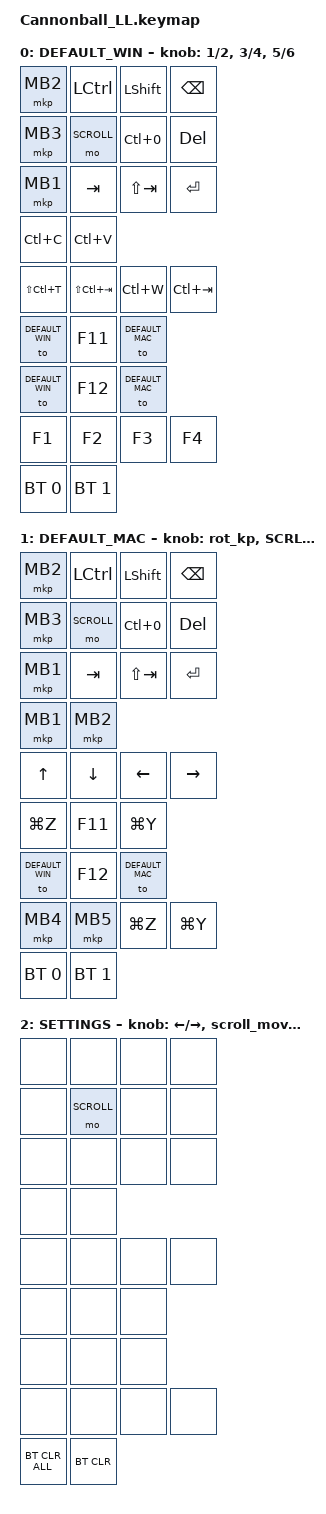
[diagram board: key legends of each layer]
#include <behaviors.dtsi>
#include <dt-bindings/zmk/bt.h>
#include <dt-bindings/zmk/keys.h>
#include <dt-bindings/zmk/pointing.h>
#include <dt-bindings/zmk/input_transform.h>

#define DEFAULT_WIN 0
#define DEFAULT_MAC 1
#define SCROLL 2

/ {
    /* Behaviors */
    // スクロール設定
    msc {
        acceleration-exponent = <0>;      // 0
        time-to-max-speed-ms = <200>;     // 300
        delay-ms = <5>;                   // 10
    };
    behaviors {
        // エンコーダー：キー
        rot_kp: sensor_rotate_kp {
            compatible = "zmk,behavior-sensor-rotate-var";
            #sensor-binding-cells = <2>;
            bindings = <&kp>, <&kp>;
        };

        // エンコーダー：マウススクロール 
        rot_msc: sensor_rotate_msc {
             compatible = "zmk,behavior-sensor-rotate-var";
             #sensor-binding-cells = <2>;
             tap-ms = <20>;
             bindings = <&msc>, <&msc>;
        };

        // エンコーダー：マウススクロール(MOVE_Y)
        scroll_move_y: sensor_rotate_msc_for_move_y {
            compatible = "zmk,behavior-sensor-rotate";
            #sensor-binding-cells = <0>;
            bindings = <&msc MOVE_Y(20)>, <&msc MOVE_Y(-20)>;
            // tap-ms下限メモ Yの値で可変: Y(15) <81>, Y(20) <65>, Y(25) <49>
            tap-ms = <65>;
        };

        // エンコーダー：マウススクロール(MOVE_X)
        scroll_move_x: sensor_rotate_msc_for_move_x {
            compatible = "zmk,behavior-sensor-rotate";
            #sensor-binding-cells = <0>;
            bindings = <&msc MOVE_X(20)>, <&msc MOVE_X(-20)>;
            // tap-ms下限メモ Xの値で可変: X(15) <81>, X(20) <65>, X(25) <49>
            tap-ms = <65>;
        };
    };

    /* キーマップ */
    keymap {
        compatible = "zmk,keymap";

        // WINDOWS用
    	DEFAULT_WIN {
            bindings = <
                // Order when USB is on top
                // Keys (Upper-right to Lower-left)
                &mkp MB2   &kp LCTRL   &kp LSHFT    &kp BSPC
                &mkp MB3   &mo SCROLL  &kp LC(N0)   &kp DEL
                &mkp MB1   &kp TAB     &kp LS(TAB)  &kp RET
                // Mouse (Left, Right)
                &kp LC(C) &kp LC(V)
                // Stick (Up, Left, Down, Right)
                &kp LS(LC(T)) &kp LS(LC(TAB)) &kp LC(W) &kp LC(TAB)
                // Lever (Left-side-left to Right-side-right)
                &to DEFAULT_WIN &kp F11 &to DEFAULT_MAC
                &to DEFAULT_WIN &kp F12 &to DEFAULT_MAC
                // Side (Upper-left, Lower-left, Upper-right, Lower-right)
                &kp F1 &kp F2 &kp F3 &kp F4
                // Back (Upper, Lower)
                &bt BT_SEL 0 &bt BT_SEL 1
    	    >;
            sensor-bindings = <&rot_kp N1 N2>, <&rot_kp N3 N4>, <&rot_kp N5 N6>;
    	};

        // MacOS用
    	DEFAULT_MAC {
            bindings = <
                // Key
                &mkp MB2   &kp LCTRL   &kp LSHFT    &kp BSPC
                &mkp MB3   &mo SCROLL  &kp LC(N0)   &kp DEL
                &mkp MB1   &kp TAB     &kp LS(TAB)  &kp RET
                // Mouse
                &mkp MB1 &mkp MB2
                // Stick
                &kp UP_ARROW &kp DOWN_ARROW &kp LEFT_ARROW &kp RIGHT_ARROW
                // Lever
                &kp LG(Z) &kp F11 &kp LG(Y)
                &to DEFAULT_WIN &kp F12 &to DEFAULT_MAC
                // Side
                &mkp MB4 &mkp MB5 &kp LG(Z) &kp LG(Y)
                // Back
                &bt BT_SEL 0 &bt BT_SEL 1
    	    >;

            // Encoder ( Upper CCW CW, Middle Left(UP) Right(Down), Left(UP) Right(Down))
            sensor-bindings = <&rot_kp &msc SCRL_LEFT &msc SCRL_RIGHT>, <&rot_kp &msc SCRL_UP &msc SCRL_DOWN>, <&rot_kp &msc SCRL_UP &msc SCRL_DOWN>;
    	};

        // BT設定、スクロールレイヤー
        SETTINGS {
            bindings = <
                // Key
                &none &none &none &none
                &none &mo SCROLL &none &none
                &none &none &none &none
                // Mouse
                &none &none
                // Stick
                &none &none &none &none
                // Lever
                &none &none &none
                &none &none &none
                // Side
                &none &none &none &none
                // Back
                &bt BT_CLR_ALL &bt BT_CLR
    	    >;
            sensor-bindings = <&rot_kp LEFT RIGHT>, <&scroll_move_y>, <&scroll_move_x>;
    	};
    };
};
